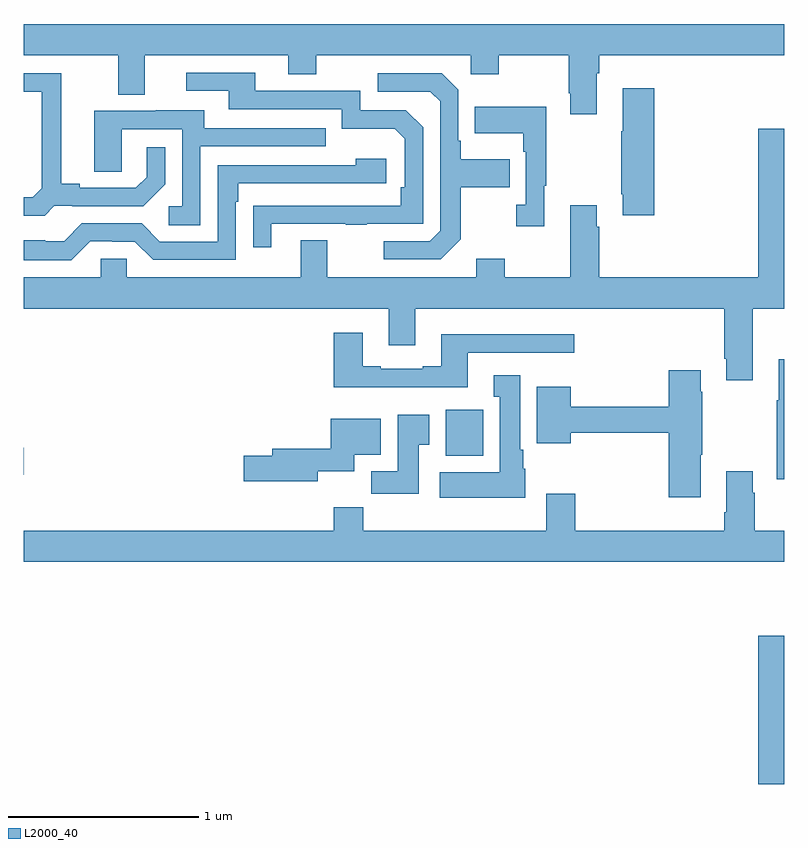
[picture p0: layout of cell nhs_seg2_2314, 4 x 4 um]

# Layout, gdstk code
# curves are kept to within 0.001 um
import gdstk
lib = gdstk.Library(unit=1e-6, precision=1e-09)
def R(c, l, rs):  # rectangles x0, y0, x1, y1
    for r in rs: c.add(gdstk.rectangle(r[:2], r[2:], *l))
def P(c, l, *ps):  # polygons
    for p in ps: c.add(gdstk.Polygon(p, *l))
L2000_40 = (2000, 40)

nhs_seg2_2314 = lib.new_cell('nhs_seg2_2314')
R(nhs_seg2_2314, L2000_40, [(234.863,647.8,235,648.58), (231,649.426,231.001,649.568), (233.219,649.526,233.416,649.768)])
P(nhs_seg2_2314, L2000_40, [(234.013,651.536),(234.026,651.536),(234.026,651.632),(235,651.632),(235,651.796),(231,651.796),(231,651.632),(231.497,651.632),(231.497,651.424),(231.637,651.424),(231.637,651.632),(232.391,651.632),(232.391,651.533),(232.539,651.533),(232.539,651.632),(233.352,651.632),(233.352,651.533),(233.499,651.533),(233.499,651.632),(233.866,651.632),(233.866,651.433),(233.873,651.433),(233.873,651.321),(234.013,651.321)],
  [(232.303,650.745),(232.693,650.745),(232.693,650.74),(232.805,650.74),(232.805,650.745),(233.1,650.745),(233.1,651.252),(233.01,651.342),(232.77,651.342),(232.77,651.444),(232.219,651.444),(232.219,651.54),(231.855,651.54),(231.855,651.444),(232.079,651.444),(232.079,651.348),(232.674,651.348),(232.674,651.245),(232.951,651.245),(233.004,651.192),(233.004,650.938),(232.984,650.938),(232.984,650.841),(232.207,650.84),(232.207,650.622),(232.303,650.622)],
  [(231.162,650.841),(231.256,650.841),(231.256,650.838),(231.628,650.838),(231.744,650.954),(231.744,651.148),(231.647,651.148),(231.647,650.991),(231.59,650.934),(231.295,650.934),(231.295,650.957),(231.199,650.957),(231.199,651.537),(231,651.537),(231,651.441),(231.095,651.441),(231.095,650.933),(231.048,650.886),(231,650.886),(231,650.789),(231.11,650.789)],
  [(233.299,650.665),(233.299,650.938),(233.555,650.938),(233.555,651.085),(233.299,651.085),(233.299,651.181),(233.286,651.181),(233.286,651.45),(233.199,651.537),(232.863,651.537),(232.863,651.441),(233.139,651.441),(233.19,651.39),(233.19,650.709),(233.136,650.655),(232.893,650.655),(232.893,650.559),(233.193,650.559)],
  [(234.317,651.457),(234.149,651.457),(234.149,651.233),(234.142,651.233),(234.142,650.902),(234.149,650.902),(234.149,650.79),(234.317,650.79)],
  [(233.737,650.945),(233.749,650.945),(233.749,651.361),(233.371,651.361),(233.371,651.221),(233.628,651.221),(233.628,651.125),(233.64,651.125),(233.64,650.846),(233.589,650.846),(233.589,650.733),(233.737,650.733)],
  [(231.93,651.153),(232.589,651.153),(232.589,651.249),(231.949,651.249),(231.949,651.343),(231.695,651.343),(231.695,651.339),(231.371,651.339),(231.371,651.019),(231.516,651.019),(231.516,651.243),(231.834,651.243),(231.834,650.838),(231.762,650.838),(231.762,650.737),(231.93,650.737)],
  [(234.835,650.3),(235,650.3),(235,651.244),(234.863,651.244),(234.863,650.464),(234.026,650.464),(234.026,650.729),(234.013,650.729),(234.013,650.842),(233.873,650.842),(233.873,650.464),(233.529,650.464),(233.529,650.563),(233.381,650.563),(233.381,650.464),(232.597,650.464),(232.597,650.659),(232.457,650.659),(232.457,650.464),(231.543,650.464),(231.543,650.562),(231.405,650.562),(231.405,650.464),(231,650.464),(231,650.3),(232.919,650.3),(232.919,650.106),(233.059,650.106),(233.059,650.3),(234.683,650.3),(234.683,650.035),(234.695,650.035),(234.695,649.923),(234.835,649.923)],
  [(231.351,650.655),(231.467,650.655),(231.467,650.652),(231.585,650.652),(231.681,650.556),(232.116,650.556),(232.116,650.861),(232.129,650.861),(232.129,650.958),(232.906,650.958),(232.906,651.088),(232.745,651.088),(232.745,651.054),(232.02,651.054),(232.02,650.652),(231.717,650.652),(231.621,650.748),(231.306,650.748),(231.213,650.655),(231.113,650.655),(231.113,650.659),(231,650.659),(231,650.555),(231.251,650.555)],
  [(233.335,650.067),(233.896,650.067),(233.896,650.164),(233.195,650.164),(233.195,649.996),(233.099,649.996),(233.099,649.983),(232.879,649.983),(232.879,649.996),(232.783,649.996),(232.783,650.173),(232.631,650.173),(232.631,649.886),(233.335,649.886)],
  [(235,650.032),(234.971,650.032),(234.971,649.819),(234.96,649.819),(234.96,649.403),(235,649.403)],
  [(234.559,649.531),(234.567,649.531),(234.567,649.862),(234.559,649.862),(234.559,649.975),(234.392,649.975),(234.392,649.784),(233.878,649.784),(233.878,649.888),(233.699,649.888),(233.699,649.592),(233.878,649.592),(233.878,649.648),(234.392,649.648),(234.392,649.308),(234.559,649.308)],
  [(233.638,649.458),(233.626,649.458),(233.626,649.558),(233.611,649.558),(233.611,649.948),(233.471,649.948),(233.471,649.835),(233.504,649.835),(233.504,649.438),(233.187,649.438),(233.187,649.304),(233.638,649.304)],
  [(233.077,649.585),(233.134,649.585),(233.134,649.741),(232.967,649.741),(232.967,649.444),(232.828,649.444),(232.828,649.326),(233.077,649.326)],
  [(232.546,649.445),(232.738,649.445),(232.738,649.532),(232.879,649.532),(232.879,649.72),(232.616,649.72),(232.616,649.562),(232.307,649.562),(232.307,649.526),(232.158,649.526),(232.158,649.391),(232.546,649.391)],
  [(235,649.132),(234.843,649.132),(234.843,649.331),(234.835,649.331),(234.835,649.444),(234.695,649.444),(234.695,649.228),(234.683,649.228),(234.683,649.132),(233.9,649.132),(233.9,649.327),(233.747,649.327),(233.747,649.132),(232.787,649.132),(232.787,649.256),(232.631,649.256),(232.631,649.132),(231,649.132),(231,648.968),(235,648.968)])

lib.write_gds('nhs_seg2_2314.gds')
